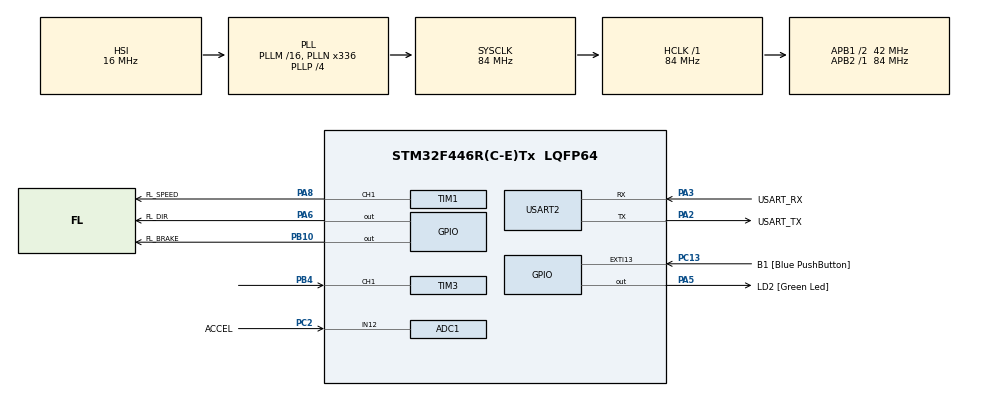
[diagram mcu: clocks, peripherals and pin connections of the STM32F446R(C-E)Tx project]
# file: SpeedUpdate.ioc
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ADC1.Channel-0\#ChannelRegularConversion=ADC_CHANNEL_12
ADC1.DiscontinuousConvMode=ENABLE
ADC1.NbrOfConversionFlag=1
ADC1.Rank-0\#ChannelRegularConversion=1
ADC1.SamplingTime-0\#ChannelRegularConversion=ADC_SAMPLETIME_480CYCLES
ADC1.ScanConvMode=ENABLE
ADC1.master=1
Mcu.Family=STM32F4
Mcu.Name=STM32F446R(C-E)Tx
Mcu.Package=LQFP64
NVIC.PriorityGroup=NVIC_PRIORITYGROUP_0
NVIC.TIM1_UP_TIM10_IRQn=true\:0\:0\:false\:false\:true\:true\:true\:true
NVIC.TIM3_IRQn=true\:0\:0\:false\:false\:true\:true\:true\:true
PA13.GPIO_Label=TMS
PA13.Mode=Serial_Wire
PA13.Signal=SYS_JTMS-SWDIO
PA14.GPIO_Label=TCK
PA14.Mode=Serial_Wire
PA14.Signal=SYS_JTCK-SWCLK
PA2.GPIO_Label=USART_TX
PA2.Mode=Asynchronous
PA2.Signal=USART2_TX
PA3.GPIO_Label=USART_RX
PA3.Mode=Asynchronous
PA3.Signal=USART2_RX
PA5.GPIO_Label=LD2 [Green Led]
PA5.Signal=GPIO_Output
PA6.GPIO_Label=FL_DIR
PA6.Signal=GPIO_Output
PA8.GPIO_Label=FL_SPEED
PA8.Signal=S_TIM1_CH1
PB10.GPIO_Label=FL_BRAKE
PB10.Signal=GPIO_Output
PB3.GPIO_Label=SWO
PB3.Signal=SYS_JTDO-SWO
PB4.Signal=S_TIM3_CH1
PC13.GPIO_Label=B1 [Blue PushButton]
PC13.GPIO_ModeDefaultEXTI=GPIO_MODE_IT_FALLING
PC13.Signal=GPXTI13
PC14-OSC32_IN.Mode=LSE-External-Oscillator
PC14-OSC32_IN.Signal=RCC_OSC32_IN
PC15-OSC32_OUT.Mode=LSE-External-Oscillator
PC15-OSC32_OUT.Signal=RCC_OSC32_OUT
PC2.GPIO_Label=ACCEL
PC2.Signal=ADCx_IN12
PH0-OSC_IN.Mode=HSE-External-Oscillator
PH0-OSC_IN.Signal=RCC_OSC_IN
PH1-OSC_OUT.Mode=HSE-External-Oscillator
PH1-OSC_OUT.Signal=RCC_OSC_OUT
ProjectManager.HeapSize=0x200
ProjectManager.StackSize=0x400
ProjectManager.TargetToolchain=STM32CubeIDE
RCC.48MHZClocksFreq_Value=84000000
RCC.AHBFreq_Value=84000000
RCC.APB1CLKDivider=RCC_HCLK_DIV2
RCC.APB1Freq_Value=42000000
RCC.APB1TimFreq_Value=84000000
RCC.APB2Freq_Value=84000000
RCC.APB2TimFreq_Value=84000000
RCC.CortexFreq_Value=84000000
RCC.FLatency-AdvancedSettings=FLASH_LATENCY_2
RCC.HCLKFreq_Value=84000000
RCC.HSE_VALUE=8000000
RCC.HSI_VALUE=16000000
RCC.PLLN=336
RCC.PLLP=RCC_PLLP_DIV4
RCC.SYSCLKFreq_VALUE=84000000
RCC.SYSCLKSource=RCC_SYSCLKSOURCE_PLLCLK
RCC.USBFreq_Value=168000000
RCC.VCOOutputFreq_Value=336000000
SH.ADCx_IN12.0=ADC1_IN12,IN12
SH.S_TIM1_CH1.0=TIM1_CH1,PWM Generation1 CH1
SH.S_TIM3_CH1.0=TIM3_CH1,Input_Capture1_from_TI1
TIM1.Channel-PWM\ Generation1\ CH1=TIM_CHANNEL_1
TIM1.Period=400-1
TIM1.Prescaler=84-1
TIM1.Pulse-PWM\ Generation1\ CH1=499
TIM10.Period=10000-1
TIM10.Prescaler=840-1
TIM3.Channel-Input_Capture1_from_TI1=TIM_CHANNEL_1
TIM3.ICPolarity_CH1=TIM_INPUTCHANNELPOLARITY_BOTHEDGE
TIM3.Prescaler=84-1
USART2.VirtualMode=VM_ASYNC
VP_TIM10_VS_ClockSourceINT.Mode=Enable_Timer
board=NUCLEO-F446RE

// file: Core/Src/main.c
/* USER CODE BEGIN Header */
/**
  ******************************************************************************
  * @file           : main.c
  * @brief          : Main program body
  ******************************************************************************
  * @attention
  *
  * Copyright (c) 2023 STMicroelectronics.
  * All rights reserved.
  *
  * This software is licensed under terms that can be found in the LICENSE file
  * in the root directory of this software component.
  * If no LICENSE file comes with this software, it is provided AS-IS.
  *
  ******************************************************************************
  */
/* USER CODE END Header */
#include "main.h"
#include "adc.h"
#include "tim.h"
#include "usart.h"
#include "gpio.h"

/* USER CODE BEGIN Includes */

#include "MY36GP_3650.h"

/* USER CODE END Includes */

void SystemClock_Config(void);

/* USER CODE BEGIN 0 */

/*
 * 모터 pulse의 주파수를 측정
 * rising, falling edge에서 주파수값 갱신
 * TIM3에서 prescaler (84-1)로 설정함
 *
 * 인자 : u32_XX_captured_val_us
 */
uint32_t u32_FL_captured_val_us;

void HAL_TIM_IC_CaptureCallback(TIM_HandleTypeDef *htim)
{

	if (htim->Channel == HAL_TIM_ACTIVE_CHANNEL_1)  // if FL pulse edge detected
	{
		u32_FL_captured_val_us = HAL_TIM_ReadCapturedValue(htim, TIM_CHANNEL_1);

	}

}

/*
 * 0.1초 마다 내부인터럽트 발생
 * 인터럽트 발생 시마다 현재 속도값을 배열에 저장
 *
 * 3번 연속 동일한 float값일 경우 속도를 0으로 갱신
 * 가장 최근의 측정값이 배열 마지막으로 저장
 *
 * 인자 : u32_XX_captured_val_us
 */
void HAL_TIM_PeriodElapsedCallback(TIM_HandleTypeDef *htim)
{
	// FL pulse velocity update
	if(htim->Instance == TIM10)
	{
		static float f_present_velocity[3];
		f_present_velocity[0] = f_present_velocity[1];
		f_present_velocity[1] = f_present_velocity[2];
		f_present_velocity[2] = u32_FL_captured_val_us;

		// 3개 값이 모두 같으면 값 0으로 수정
		if ((f_present_velocity[0] == f_present_velocity[1]) && (f_present_velocity[1] == f_present_velocity[2]))
			u32_FL_captured_val_us = 0;
	}
}

/* USER CODE END 0 */

int main(void)
{
  /* USER CODE BEGIN 1 */

	uint32_t u32_adc_value;
    uint32_t u32_ccr_value;
    float f_voltage;
    float f_FL_period_ms;

  /* USER CODE END 1 */

  /* MCU Configuration--------------------------------------------------------*/

  /* Reset of all peripherals, Initializes the Flash interface and the Systick. */
  HAL_Init();

  /* Configure the system clock */
  SystemClock_Config();

  /* Initialize all configured peripherals */
  MX_GPIO_Init();
  MX_USART2_UART_Init();
  MX_ADC1_Init();
  MX_TIM1_Init();
  MX_TIM3_Init();
  MX_TIM10_Init();
  /* USER CODE BEGIN 2 */

	  HAL_TIM_PWM_Start(&htim1, TIM_CHANNEL_1);
	  HAL_TIM_IC_Start_IT(&htim3, TIM_CHANNEL_1);

	  HAL_TIM_Base_Start_IT(&htim10);

  /* USER CODE END 2 */

  /* Infinite loop */
  while (1)
  {

    /* USER CODE BEGIN 3 */

      HAL_ADC_Start(&hadc1);
      HAL_ADC_PollForConversion(&hadc1, 100);   // adc값 읽힐 때까지 최대 100ms 대기
      u32_adc_value = HAL_ADC_GetValue(&hadc1);
      HAL_ADC_Stop(&hadc1);

      f_voltage = float_map((float)u32_adc_value, 0.0, 4095.0, 0.0, 3.3);
      u32_ccr_value = uint32_map(u32_adc_value, 0, ADC_MAX_VALUE, 0, PWM_MAX_VALUE);

      motorVelocityCheck(u32_adc_value, CCW);

      f_FL_period_ms = (float)u32_FL_captured_val_us / 1000;	// ms 단위로 변환

      printf("adc value : %d\tvoltage : %f\tccr : %d\t", u32_adc_value, f_voltage, u32_ccr_value);
      printf("motor pulse : %f ms\r\n", f_FL_period_ms);

  }
  /* USER CODE END 3 */
}

void SystemClock_Config(void)
{
  RCC_OscInitTypeDef RCC_OscInitStruct = {0};
  RCC_ClkInitTypeDef RCC_ClkInitStruct = {0};

  /** Configure the main internal regulator output voltage
  */
  __HAL_RCC_PWR_CLK_ENABLE();
  __HAL_PWR_VOLTAGESCALING_CONFIG(PWR_REGULATOR_VOLTAGE_SCALE3);

  /** Initializes the RCC Oscillators according to the specified parameters
  * in the RCC_OscInitTypeDef structure.
  */
  RCC_OscInitStruct.OscillatorType = RCC_OSCILLATORTYPE_HSI;
  RCC_OscInitStruct.HSIState = RCC_HSI_ON;
  RCC_OscInitStruct.HSICalibrationValue = RCC_HSICALIBRATION_DEFAULT;
  RCC_OscInitStruct.PLL.PLLState = RCC_PLL_ON;
  RCC_OscInitStruct.PLL.PLLSource = RCC_PLLSOURCE_HSI;
  RCC_OscInitStruct.PLL.PLLM = 16;
  RCC_OscInitStruct.PLL.PLLN = 336;
  RCC_OscInitStruct.PLL.PLLP = RCC_PLLP_DIV4;
  RCC_OscInitStruct.PLL.PLLQ = 2;
  RCC_OscInitStruct.PLL.PLLR = 2;
  if (HAL_RCC_OscConfig(&RCC_OscInitStruct) != HAL_OK)
  {
    Error_Handler();
  }

  /** Initializes the CPU, AHB and APB buses clocks
  */
  RCC_ClkInitStruct.ClockType = RCC_CLOCKTYPE_HCLK|RCC_CLOCKTYPE_SYSCLK
                              |RCC_CLOCKTYPE_PCLK1|RCC_CLOCKTYPE_PCLK2;
  RCC_ClkInitStruct.SYSCLKSource = RCC_SYSCLKSOURCE_PLLCLK;
  RCC_ClkInitStruct.AHBCLKDivider = RCC_SYSCLK_DIV1;
  RCC_ClkInitStruct.APB1CLKDivider = RCC_HCLK_DIV2;
  RCC_ClkInitStruct.APB2CLKDivider = RCC_HCLK_DIV1;

  if (HAL_RCC_ClockConfig(&RCC_ClkInitStruct, FLASH_LATENCY_2) != HAL_OK)
  {
    Error_Handler();
  }
}

void Error_Handler(void)
{
  __disable_irq();
  while (1)
  {
  }
}
